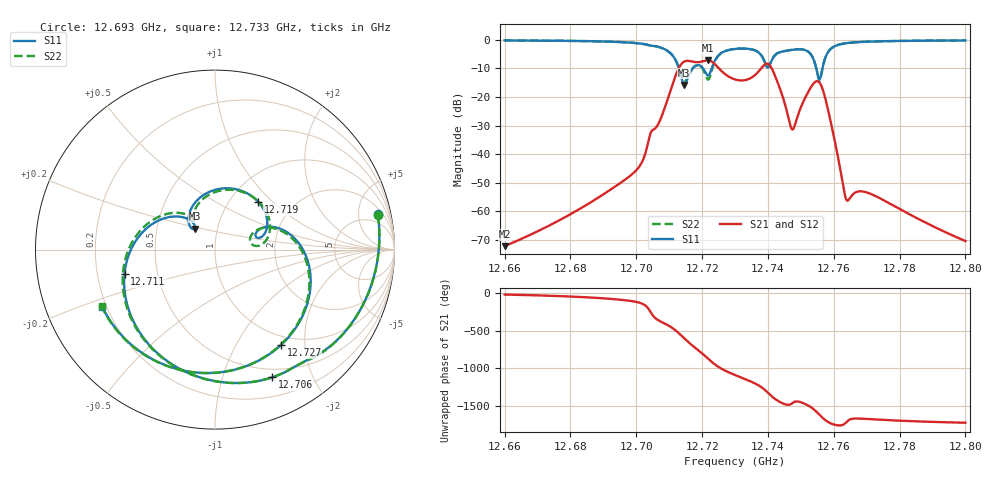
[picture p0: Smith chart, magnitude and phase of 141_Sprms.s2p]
! TOUCHSTONE file generated by CST MICROWAVE STUDIO
! Date and time: Wed Jul 31 17:56:20 2024
! Project name: WaveGuide_BPF-Ver4.1_U-shape_Ku_T3_C4_CWA_2.cst
! Parameters = {cavity_h=16; cavity_l0=10; cavity_l1=15.2077; cavity_l2=16.8367; cavity_l3=17.0986; cavity_l4=17.234; cavity_l5=17.1584; cavity_l6=17.6191; cavity_r=2.5; cavity_screw_l=0.5; cavity_screw_r=1.5; cavity_w=8; iris_h00=0; iris_h01=8.8147; iris_h112=0; iris_h12=5.5942; iris_h211=3.6634; i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
! Header version: 2018
! Port assignment regex: !\s*Touchstone port\s*([0-9]+)\s*=\s*(CST MWS port|CST DS port)\s*([0-9]+|Zmin|Zmax)\s*\(\"(.*)\"\)(\s*mode\s*([0-9]+))?.*
! Touchstone port assignment:
! Touchstone port 1 = CST MWS port 1 ("")
! Touchstone port 2 = CST MWS port 2 ("")
# GHz S RI R 50
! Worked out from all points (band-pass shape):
!   5001 points, 12.66 GHz to 12.8 GHz, reference 50 ohm
!   highest |S21| = -7.08 dB at 12.722 GHz (marker M1); lowest = -72.3 dB at 12.66 GHz (marker M2)
!   |S21| within 3 dB of the highest: 12.71284 GHz to 12.72519 GHz (12.36 MHz wide, 0.0972 % of centre); 12.73787 GHz to 12.74121 GHz (3.338 MHz wide, 0.0262 % of centre)
!   lowest |S11| = -15.8 dB at 12.715 GHz (marker M3), VSWR 1.39, Z = 38.8 + j9.28 ohm
!   |S11| at or under -10 dB: 12.71294 GHz to 12.71716 GHz (4.215 MHz wide, 0.0332 % of centre); 12.72032 GHz to 12.72292 GHz (2.6 MHz wide, 0.0204 % of centre); 12.7547 GHz to 12.75655 GHz (1.85 MHz wide, 0.0145 % of centre)
!   |S22| runs from -14.6 to -0.2 dB; largest |S21 - S12| = 1e-09
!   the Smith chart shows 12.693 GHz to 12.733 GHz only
!   S11 on the Smith chart (normalised r, x): 12.693 GHz: 2.86, +8.29; 12.706 GHz: 0.40, -1.47; 12.711 GHz: 0.32, -0.12; 12.719 GHz: 1.35, +0.82; 12.727 GHz: 0.85, -1.56; 12.733 GHz: 0.18, -0.23
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12.66  0.3288 0.924  0.000222 -9.72e-05  0.000222 -9.72e-05  0.3318 0.9229
12.68335  0.7454 0.6016  0.000623 -0.000952  0.000623 -0.000952  0.7484 0.5976
12.69318  0.9076 0.1982  0.000255 -0.00258  0.000255 -0.00258  0.9088 0.1909
12.70572  0.3201 -0.7117  0.0251 0.0124  0.0251 0.0124  0.3011 -0.7172
12.70668  0.162 -0.742  0.0335 -0.00193  0.0335 -0.00193  0.1401 -0.7433
12.71118  -0.5042 -0.1345  -0.0707 -0.1636  -0.0707 -0.1636  -0.5104 -0.1076
12.7146  -0.1136 0.1163  -0.1764 0.3805  -0.1764 0.3805  -0.1091 0.1503
12.71916  0.2415 0.2658  0.2455 -0.3286  0.2455 -0.3286  0.2815 0.219
12.72168  0.2292 0.0705  -0.3712 -0.2408  -0.3712 -0.2408  0.201 0.0355
12.72726  0.3669 -0.5323  0.1787 0.1683  0.1787 0.1683  0.3579 -0.5373
12.73  -0.1514 -0.6783  0.2006 -0.0335  0.2006 -0.0335  -0.1619 -0.6774
12.73316  -0.6275 -0.32  0.0828 -0.18  0.0828 -0.18  -0.6324 -0.316
12.73868  -0.1804 0.4188  -0.3463 0.0771  -0.3463 0.0771  -0.1899 0.4218
12.74257  0.0769 0.5613  0.192 0.0734  0.192 0.0734  0.0732 0.5662
12.74616  0.6551 -0.0179  0.0323 -0.0319  0.0323 -0.0319  0.657 -0.00443
12.75005  0.1219 -0.6754  0.0654 -0.0132  0.0654 -0.0132  0.1398 -0.6737
12.75335  -0.4583 -0.2541  0.0133 -0.1569  0.0133 -0.1569  -0.4513 -0.2744
12.75554  -0.0183 0.2045  -0.1795 -0.0316  -0.1795 -0.0316  -0.0248 0.1928
12.75761  0.4338 -0.2791  -0.0254 0.0826  -0.0254 0.0826  0.426 -0.2922
12.76394  -0.3803 -0.7935  -1.45e-05 0.00155  -1.45e-05 0.00155  -0.3914 -0.7895
12.77668  -0.9104 -0.2887  -0.000519 0.00129  -0.000519 0.00129  -0.9126 -0.2825
12.8  -0.9461 0.2575  6.18e-05 0.000292  6.18e-05 0.000292  -0.945 0.2616
